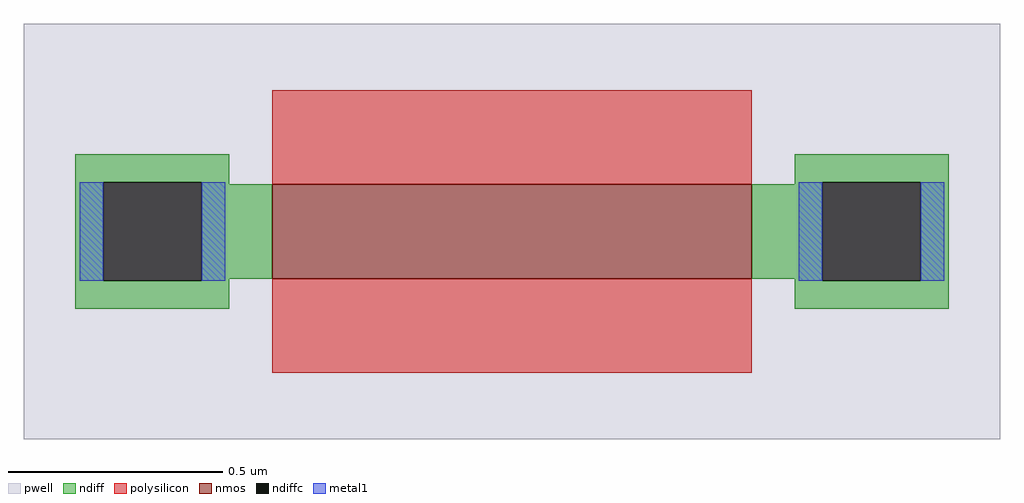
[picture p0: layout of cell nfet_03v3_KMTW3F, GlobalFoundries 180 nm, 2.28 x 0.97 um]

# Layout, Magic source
magic
tech gf180mcuC
magscale 1 10
<< pwell >>
rect -228 -97 228 97
<< nmos >>
rect -112 -22 112 22
<< ndiff >>
rect -204 23 -132 36
rect -204 -23 -191 23
rect -145 22 -132 23
rect 132 23 204 36
rect 132 22 145 23
rect -145 -22 -112 22
rect 112 -22 145 22
rect -145 -23 -132 -22
rect -204 -36 -132 -23
rect 132 -23 145 -22
rect 191 -23 204 23
rect 132 -36 204 -23
<< ndiffc >>
rect -191 -23 -145 23
rect 145 -23 191 23
<< polysilicon >>
rect -112 22 112 66
rect -112 -66 112 -22
<< metal1 >>
rect -202 -23 -191 23
rect -145 -23 -134 23
rect 134 -23 145 23
rect 191 -23 202 23
<< properties >>
string gencell nfet_03v3
string library gf180mcu
string parameters w 0.22 l 1.12 m 1 nf 1 diffcov 100 polycov 100 guard 0 glc 0 grc 0 gtc 0 gbc 0 tbcov 100 rlcov 100 topc 0 botc 0 poverlap 0 doverlap 0 lmin 0.28 wmin 0.22 class mosfet full_metal 0 compatible {nfet_03v3 nfet_05v0 nfet_06v0 nfet_06v0_nvt}
<< end >>
